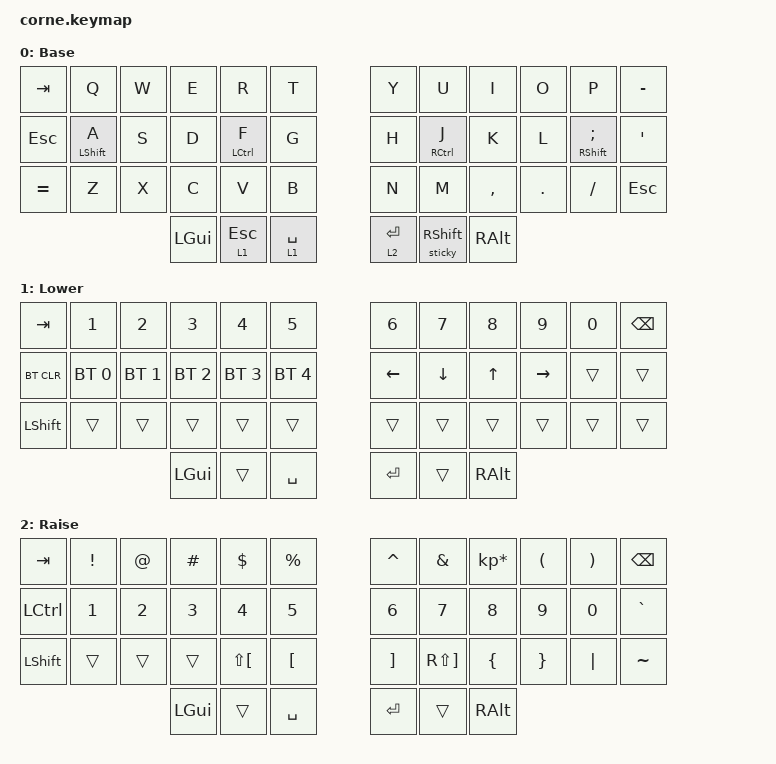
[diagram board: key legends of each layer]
/*
 * Copyright (c) 2020 The ZMK Contributors
 *
 * SPDX-License-Identifier: MIT
 */

#include <behaviors.dtsi>
#include <dt-bindings/zmk/bt.h>
#include <dt-bindings/zmk/keys.h>
#include <dt-bindings/zmk/pointing.h>

/ {
    behaviors {
        hm_rick: hmrick {
            compatible = "zmk,behavior-hold-tap";
            label = "HMRICK";
            bindings = <&kp>, <&kp>;

            #binding-cells = <2>;
            flavor = "tap-preferred";
            tapping-term-ms = <175>; // triggers the hold behavior when the tapping-term-ms has expired
            quick-tap-ms = <150>; // If you press a tapped hold-tap again within quick-tap-ms milliseconds of the first press, it will always trigger the tap behavior.
            require-prior-idle-ms = <185>; // like quick-tap-ms however it will apply for any non-modifier key pressed before it
        };

        as_ht: autoshift_hold_tap {
          compatible = "zmk,behavior-hold-tap";
          label = "AUTOSHIFT_HOLD_TAP";
          #binding-cells = <2>;
          tapping-term-ms = <200>;
          bindings = <&shifted>, <&kp>;
        };

        sticky: sticky {
            compatible = "zmk,behavior-sticky-key";
            label = "STICKY";
            bindings = <&kp>;
            #binding-cells = <1>;
            release-after-ms = <10000>;
        };
    };
macros {
    shifted: macro_shifted_kp {
      #binding-cells = <1>;
      label = "MACRO_SHIFTED_KP";
      compatible = "zmk,behavior-macro-one-param";
      bindings =
        <&macro_press &kp LSHFT>,
        <&macro_param_1to1 &macro_tap &kp MACRO_PLACEHOLDER>,
        <&macro_release &kp LSHFT>;
    };

    as: autoshift {
      compatible = "zmk,behavior-macro-one-param";
      #binding-cells = <1>;
      label = "AUTOSHIFT_KP";
      bindings =
        <&macro_press>,
        <&macro_param_1to1>,
        <&macro_param_1to2>,
        <&as_ht MACRO_PLACEHOLDER MACRO_PLACEHOLDER>,
        <&macro_pause_for_release>,
        <&macro_release>,
        <&macro_param_1to1>,
        <&macro_param_1to2>,
        <&as_ht MACRO_PLACEHOLDER MACRO_PLACEHOLDER>;
    };
  };

    keymap {
        compatible = "zmk,keymap";

        default_layer {
            // -----------------------------------------------------------------------------------------
            // |  TAB |  Q  |  W  |  E  |  R  |  T  |   |  Y  |  U   |  I  |  O  |  P  | BKSP |
            // | CTRL |  A  |  S  |  D  |  F  |  G  |   |  H  |  J   |  K  |  L  |  ;  |  '   |
            // | SHFT |  Z  |  X  |  C  |  V  |  B  |   |  N  |  M   |  ,  |  .  |  /  | ESC  |
            //                    | GUI | LWR | SPC |   | ENT | RSE  | ALT |

            display-name = "Base";
            bindings = <
&kp TAB    &kp Q                  &kp W  &kp E     &kp R             &kp T          &kp Y         &kp U                     &kp I      &kp O    &kp P                           &kp MINUS
&kp ESC    &hm_rick LEFT_SHIFT A  &kp S  &kp D     &hm_rick LCTRL F  &kp G          &kp H         &hm_rick RIGHT_CONTROL J  &kp K      &kp L    &hm_rick RIGHT_SHIFT SEMICOLON  &kp SQT
&kp EQUAL  &kp Z                  &kp X  &kp C     &kp V             &kp B          &kp N         &kp M                     &kp COMMA  &kp DOT  &kp FSLH                        &kp ESC
                                         &kp LGUI  &lt 1 ESCAPE      &lt 1 SPACE    &lt 2 RETURN  &sticky RIGHT_SHIFT       &kp RALT
            >;
        };

        lower_layer {
            // -----------------------------------------------------------------------------------------
            // |  TAB |  1  |  2  |  3  |  4  |  5  |   |  6  |  7  |  8  |  9  |  0  | BKSP |
            // | BTCLR| BT1 | BT2 | BT3 | BT4 | BT5 |   | LFT | DWN |  UP | RGT |     |      |
            // | SHFT |     |     |     |     |     |   |     |     |     |     |     |      |
            //                    | GUI |     | SPC |   | ENT |     | ALT |

            display-name = "Lower";
            bindings = <
&kp TAB     &kp N1        &kp N2        &kp N3        &kp N4        &kp N5          &kp N6    &kp N7    &kp N8    &kp N9     &kp N0  &kp BSPC
&bt BT_CLR  &bt BT_SEL 0  &bt BT_SEL 1  &bt BT_SEL 2  &bt BT_SEL 3  &bt BT_SEL 4    &kp LEFT  &kp DOWN  &kp UP    &kp RIGHT  &trans  &trans
&kp LSHFT   &trans        &trans        &trans        &trans        &trans          &trans    &trans    &trans    &trans     &trans  &trans
                                        &kp LGUI      &trans        &kp SPACE       &kp RET   &trans    &kp RALT
            >;
        };

        raise_layer {
            // -----------------------------------------------------------------------------------------
            // |  TAB |  !  |  @  |  #  |  $  |  %  |   |  ^  |  &  |  *  |  (  |  )  | BKSP |
            // | CTRL |     |     |     |     |     |   |  -  |  =  |  [  |  ]  |  \  |  `   |
            // | SHFT |     |     |     |     |     |   |  _  |  +  |  {  |  }  | "|" |  ~   |
            //                    | GUI |     | SPC |   | ENT |     | ALT |

            display-name = "Raise";
            bindings = <
&kp TAB    &kp EXCL  &kp AT  &kp HASH  &kp DLLR      &kp PRCNT    &kp CARET  &kp AMPS      &kp KP_MULTIPLY  &kp LPAR  &kp RPAR  &kp BSPC
&kp LCTRL  &kp N1    &kp N2  &kp N3    &kp N4        &kp N5       &kp N6     &kp N7        &kp N8           &kp N9    &kp N0    &kp GRAVE
&kp LSHFT  &trans    &trans  &trans    &kp LS(LBKT)  &kp LBKT     &kp RBKT   &kp RS(RBKT)  &kp LBRC         &kp RBRC  &kp PIPE  &kp TILDE
                             &kp LGUI  &trans        &kp SPACE    &kp RET    &trans        &kp RALT
            >;
        };
    };
};
